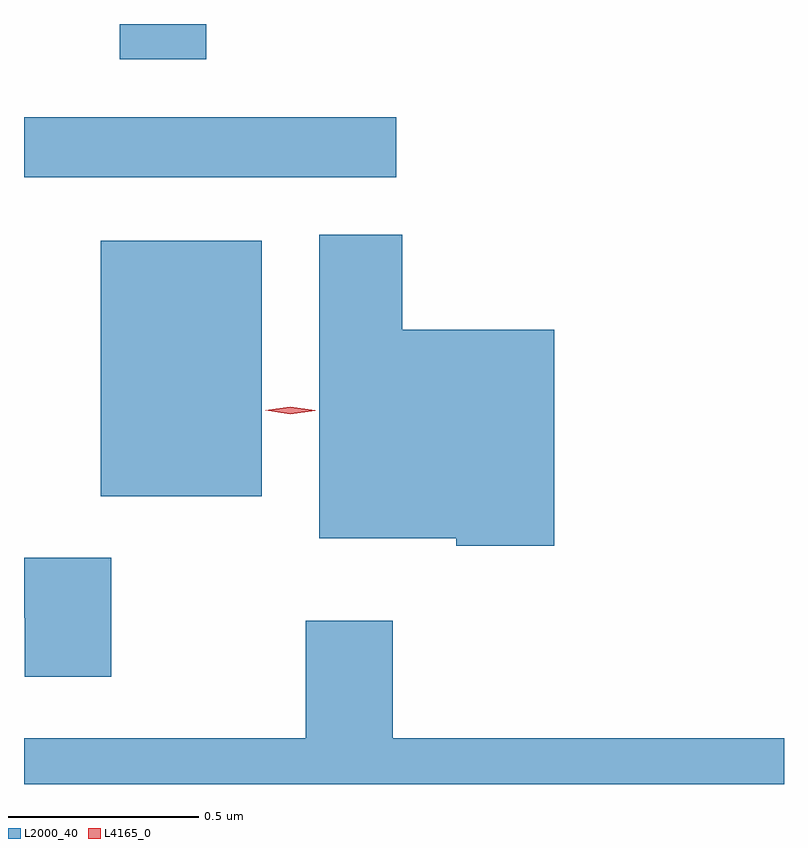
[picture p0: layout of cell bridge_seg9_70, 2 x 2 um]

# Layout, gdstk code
import gdstk
lib = gdstk.Library(unit=1e-6, precision=1e-09)
def R(c, l, rs):  # rectangles x0, y0, x1, y1
    for r in rs: c.add(gdstk.rectangle(r[:2], r[2:], *l))
def P(c, l, *ps):  # polygons
    for p in ps: c.add(gdstk.Polygon(p, *l))
L2000_40 = (2000, 40)
L4165_0 = (4165, 0)

bridge_seg9_70 = lib.new_cell('bridge_seg9_70')
R(bridge_seg9_70, L2000_40, [(1537.451,1972.741,1537.874,1973.414), (1537.249,1973.581,1538.228,1973.739), (1537.501,1973.891,1537.729,1973.984)])
P(bridge_seg9_70, L2000_40, [(1538.644,1973.179),(1538.244,1973.179),(1538.244,1973.429),(1538.026,1973.429),(1538.026,1972.631),(1538.386,1972.631),(1538.386,1972.611),(1538.644,1972.611)],
  [(1537.479,1972.579),(1537.249,1972.579),(1537.249,1972.421),(1537.251,1972.421),(1537.251,1972.266),(1537.479,1972.266)],
  [(1539.249,1972.104),(1538.219,1972.104),(1538.219,1972.414),(1537.991,1972.414),(1537.991,1972.104),(1537.249,1972.104),(1537.249,1971.984),(1539.249,1971.984)])
P(bridge_seg9_70, L4165_0, [(1537.95,1972.957),(1537.884,1972.967),(1537.884,1972.968),(1537.884,1972.968),(1537.95,1972.977),(1538.015,1972.967),(1538.016,1972.967),(1538.015,1972.966)])

lib.write_gds('bridge_seg9_70.gds')
